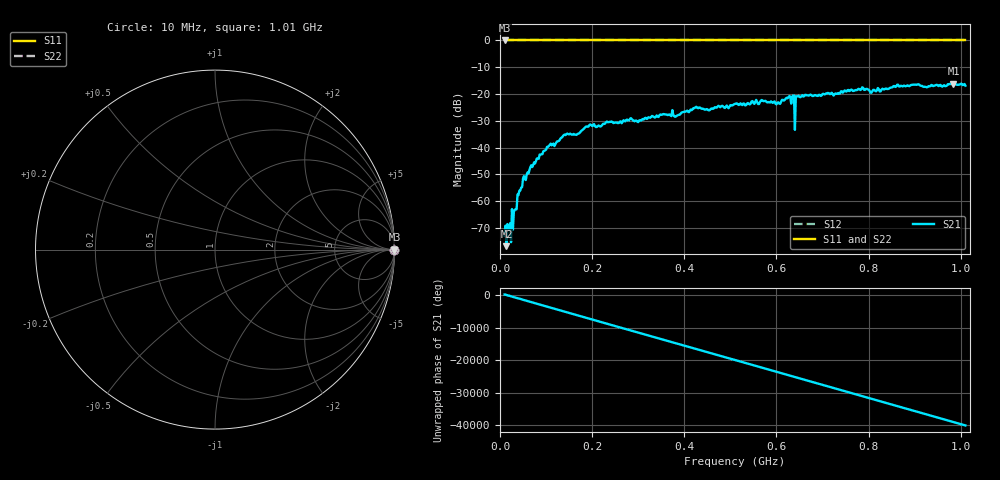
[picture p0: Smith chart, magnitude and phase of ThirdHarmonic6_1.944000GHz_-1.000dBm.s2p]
! 8/16/2025 11:25:05 PM
! C:\ANRITSUVNA\TEMP\TEMP.S2P
! CHANNEL.1
! TR.MEASUREMENT
! RAW.DATA
! RF.CORRECTION.OFF
! AVERAGING.OFF
! IF.BANDWIDTH: 5KHZ
! SWEEPTYPE:  FREQ.SWEEP(Linear)
! Reference Plane Port Info
! PORT:  PORT1  PORT2
! DISTANCE:  0  m  0  m
! TIME:  0  s  0  s
! PHASE.OFFSET:  0  deg.  0  deg.
! LOSS:  0  dB  0  dB
! REF.LOSS:  0  dB  0  dB
! REF.FREQ:  0  Hz  0  Hz
! Power Info
! POWER:  -20  dBm  -20  dBm
! EFF.POWER:  -20  dBm  -20  dBm
! SOURCE.ATTEN:  0  dB  0  dB
! TEST.ATTEN:  0  dB  0  dB
# GHZ S RI R 50.0
! FREQ.GHZ  S11RE  S11IM  S21RE  S21IM  S12RE  S12IM  S22RE  S22IM
!; PortSelection: Port_12
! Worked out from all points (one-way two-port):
!   501 points, 10 MHz to 1.01 GHz, reference 50 ohm
!   highest |S21| = -16.11 dB at 984 MHz (marker M1); lowest = -76.8 dB at 14 MHz (marker M2)
!   lowest |S11| = 0.0 dB at 10 MHz (marker M3)
!   |S11| at or under -10 dB: nowhere
!   |S22| runs from 0.0 to 0.0 dB; largest |S21 - S12| = 1.2
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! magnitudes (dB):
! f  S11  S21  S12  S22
! 10 MHz  0.0  -73.0  0.0  0.0
! 14 MHz  0.0  -76.8  0.0  0.0
! 24 MHz  0.0  -75.3  0.0  0.0
! 48 MHz  0.0  -54.7  0.0  0.0
! 70 MHz  0.0  -47.2  0.0  0.0
! 106 MHz  0.0  -39.4  0.0  0.0
! 142 MHz  0.0  -35.3  0.0  0.0
! 178 MHz  0.0  -33.5  0.0  0.0
! 234 MHz  0.0  -30.5  0.0  0.0
! 344 MHz  0.0  -28.6  0.0  0.0
! 382 MHz  0.0  -28.3  0.0  0.0
! 510 MHz  0.0  -23.7  0.0  0.0
! 604 MHz  0.0  -23.1  0.0  0.0
! 626 MHz  0.0  -21.2  0.0  0.0
! 634 MHz  0.0  -21.0  0.0  0.0
! 636 MHz  0.0  -20.6  0.0  0.0
! 644 MHz  0.0  -20.9  0.0  0.0
! 646 MHz  0.0  -20.8  0.0  0.0
! 678 MHz  0.0  -20.7  0.0  0.0
! 844 MHz  0.0  -18.0  0.0  0.0
! 984 MHz  0.0  -16.1  0.0  0.0
! 1.01 GHz  0.0  -16.9  0.0  0.0
